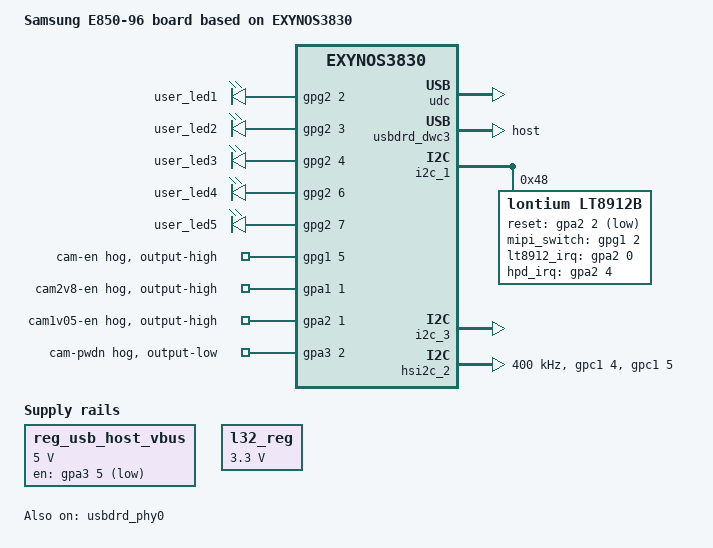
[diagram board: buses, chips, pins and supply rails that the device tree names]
#include "exynos3830-board_common.dtsi"
#include "exynos3830-e850-96-sound.dtsi"
#include "exynos3830-erd3830-camera.dtsi"
#include <dt-bindings/gpio/gpio.h>
#include <dt-bindings/interrupt-controller/irq.h>

/ {
	compatible = "samsung,exynos3830", "samsung,E850-96";
	board_id = <BOARD_ID>;
	board_rev = <BOARD_REV>;

	fragment@model {
		target-path = "/";
		__overlay__ {
			#address-cells = <2>;
			#size-cells = <1>;
			model = "Samsung E850-96 board based on EXYNOS3830";

			leds {
				compatible = "gpio-leds";

				/* HEART_BEAT_LED */
				user_led1 {
					label = "user_led1";
					gpios = <&gpg2 2 GPIO_ACTIVE_HIGH>;
					linux,default-trigger = "heartbeat";
				};

				/* eMMC_LED */
				user_led2 {
					label = "user_led2";
					gpios = <&gpg2 3 GPIO_ACTIVE_HIGH>;
					linux,default-trigger = "mmc0";
				};

				/* SD_LED */
				user_led3 {
					label = "user_led3";
					gpios = <&gpg2 4 GPIO_ACTIVE_HIGH>;
					linux,default-trigger = "mmc1";
				};

				/* WIFI_LED */
				user_led4 {
					label = "user_led4";
					gpios = <&gpg2 6 GPIO_ACTIVE_HIGH>;
					linux,default-trigger = "phy0tx";
					default-state = "off";
				};

				/* BLUETOOTH_LED */
				user_led5 {
					label = "user_led5";
					gpios = <&gpg2 7 GPIO_ACTIVE_HIGH>;
					linux,default-trigger = "hci0rx";
					default-state = "off";
				};
			};

			/*
			 * Always keep host USB power enabled, as k4.14 lacks
			 * the 'usb-conn-gpio' driver. See also dr_mode in
			 * usbdrd_dwc3 node for the actual USB mode.
			 */
			reg_usb_host_vbus: regulator-usb-host-vbus {
				compatible = "regulator-fixed";
				regulator-name = "usb_host_vbus";
				regulator-min-microvolt = <5000000>;
				regulator-max-microvolt = <5000000>;
				gpio = <&gpa3 5 GPIO_ACTIVE_LOW>;

				regulator-always-on;

				pinctrl-names = "default";
				pinctrl-0 = <&usb_pwr_ctl>;
			};
		};
	};
};

/* ---- USB nodes ----------------------------------------------------------- */

&pinctrl_0 {
	usb_pwr_ctl: usb-pwr-ctl {
		samsung,pins = "gpa3-5";
		samsung,pin-function = <0x1>;	/* output */
		samsung,pin-pud = <0>;
	};
};

&udc {
	status = "okay";
};

&usbdrd_dwc3 {
	dr_mode = "host";
	maximum-speed = "high-speed";
	snps,quirk-frame-length-adjustment = <0x20>;
	snps,u1u2_exitfail_quirk;
	/* ux_exit_in_px should be defined in MK, LT */
	snps,ux_exit_in_px_quirk;
	/* elastic_buf_mode_quirk should be defined in MK */
	snps,elastic_buf_mode_quirk;
	/* usb3-lpm-capable;
	snps,usb3_lpm_capable;
	adj-sof-accuracy = <1>; */
	/*
	 * dis-u2-freeclk-exists-quirk, dis_u2_susphy_quirk are alternative.
	 * One of them should be selected
	 */
	snps,dis-u2-freeclk-exists-quirk;
	/*snps,dis_u2_susphy_quirk;*/

	usb_audio_offloading = <0>;
//	abox = <&abox>; /* Temporary block */
};

&usbdrd_phy0 {
	status = "okay";
	usb3phy-isolation= <1>;
	pinctrl-names = "default";
//	pinctrl-0 = <&phy_port>;
//	phy,gpio_phy_port = <&gpg0 4 0x0>;
//	hs_tune_param = <&usb_hs_tune>;
//	ss_tune_param = <&usb_ss_tune>;
};

/* ---- HDMI nodes ---------------------------------------------------------- */

&pinctrl_0 {
	/* Reset line for LT8912; GPA2[2] = XEINT18 */
	lt8912b_rst: lt8912b_rst {
		samsung,pins = "gpa2-2";
		samsung,pin-function = <0x1>;
		samsung,pin-pud = <0>;
	};

	/* Interrupt from LT8912B chip; GPA2[0] = XEINT16 */
	lt8912b_int: lt8912b_int {
		samsung,pins = "gpa2-0";
		samsung,pin-function = <0xf>;
		samsung,pin-pud = <0>;
	};

	/* Interrupt from HPD line of HDMI socket; GPA2[4] = XEINT20 */
	hdmi_hpd_int: lt8912b_hpd_int {
		samsung,pins = "gpa2-4";
		samsung,pin-function = <0xf>;
		samsung,pin-pud = <0>;
	};
};

&pinctrl_5 {
	/* GPIO line to control DSI lines route (0 - HS connector, 1 - HDMI) */
	mipi_switch: mipi_switch {
		samsung,pins = "gpg1-2";
		samsung,pin-function = <0x1>;
		samsung,pin-pud = <0>;
	};
};

&i2c_1 {
	#address-cells = <1>;
	#size-cells = <0>;
	status = "okay";

	lt8912b: lt8912b {
		compatible = "lontium,lt8912b";
		reg = <0x48>;

		reset-gpios = <&gpa2 2 GPIO_ACTIVE_LOW>;
		mipi_switch-gpios = <&gpg1 2 GPIO_ACTIVE_HIGH>;
		lt8912_irq-gpios = <&gpa2 0 GPIO_ACTIVE_HIGH>;
		hpd_irq-gpios = <&gpa2 4 GPIO_ACTIVE_HIGH>;

		pinctrl-names = "default";
		pinctrl-0 = <&lt8912b_rst &lt8912b_int &hdmi_hpd_int
			     &mipi_switch>;
	};
};

/* HDMI DDC I2C (for getting the EDID, etc) */
&i2c_3 {
	#address-cells = <1>;
	#size-cells = <0>;
	status = "okay";
};

&panel_0 {
	/* reset, power */
	gpios = <&gpg2 5 GPIO_ACTIVE_LOW>, <&gpg1 1 GPIO_ACTIVE_LOW>;
	regulator_1p8v = "vdd_ldo28";
};

/*
 * NOTE: See also changes in:
 *       - exynos3830-dpu.dtsi
 *       - exynos3830-display-lcd.dtsi
 */

/* ---- Camera nodes -------------------------------------------------------- */

/* Camera module power: configure LDO32 line for 3.3V and enable it */
&l32_reg {
	regulator-name = "vdd_ldo32";
	regulator-min-microvolt = <3300000>;
	regulator-max-microvolt = <3300000>;
	regulator-always-on;
	regulator-ramp-delay = <12000>;
	regulator-initial-mode = <3>;
};

&pinctrl_5 {
	/* CAM_GPIO: control camera module power (enable/disable) */
	cam_en_pins: cam-en-pins {
		samsung,pins = "gpg1-5";
		samsung,pin-function = <0x1>;	/* output */
		samsung,pin-pud = <0>;
	};
};

/* TODO: Remove it once a proper camera driver is enabled */
&gpg1 {
	pinctrl-names = "default";
	pinctrl-0 = <&cam_en_pins>;

	/* Always keep CAM_GPIO line at "1" level */
	cam-en {
		gpio-hog;
		gpios = <5 GPIO_ACTIVE_HIGH>;
		output-high;
		line-name = "cam-en";
	};
};

/* Camera I2C; taken from exynos3830-erd3830-camera.dtsi */
&hsi2c_2 {
	#address-cells = <1>;
	#size-cells = <0>;
	gpios = <&gpc1 4 0 &gpc1 5 0>;
	status = "okay";
	clock-frequency = <400000>;
//	samsung,reset-before-trans;
//	samsung,fast-plus-mode;
};

/* ---- 3L6 camera nodes ---------------------------------------------------- */

&pinctrl_0 {
	/* GPIO-A: 2.8V enable */
	cam2v8_en_pins: cam2v8-en-pins {
		samsung,pins = "gpa1-1";
		samsung,pin-function = <0x1>;	/* output */
		samsung,pin-pud = <0>;
	};

	/* GPIO-B: 1.05V enable */
	cam1v05_en_pins: cam1v05-en-pins {
		samsung,pins = "gpa2-1";
		samsung,pin-function = <0x1>;	/* output */
		samsung,pin-pud = <0>;
	};

	/* GPIO-K: 3L6 PWDN/reset */
	cam_pwdn_pins: cam-pwdn-pins {
		samsung,pins = "gpa3-2";
		samsung,pin-function = <0x1>;	/* output */
		samsung,pin-pud = <0>;
	};

	/* GPIO-L: SYNC */
	cam_sync_pins: cam-sync-pins {
		samsung,pins = "gpa3-3";
		samsung,pin-function = <0x0>;	/* input */
		samsung,pin-pud = <0>;
	};
};

&gpa1 {
	pinctrl-names = "default";
	pinctrl-0 = <&cam2v8_en_pins>;

	cam2v8-en {
		gpio-hog;
		gpios = <1 GPIO_ACTIVE_HIGH>;
		output-high;
		line-name = "cam2v8-en";
	};
};

&gpa2 {
	pinctrl-names = "default";
	pinctrl-0 = <&cam1v05_en_pins>;

	cam1v05-en {
		gpio-hog;
		gpios = <1 GPIO_ACTIVE_HIGH>;
		output-high;
		line-name = "cam1v05-en";
	};
};

&gpa3 {
	pinctrl-names = "default";
	pinctrl-0 = <&cam_pwdn_pins &cam_sync_pins>;

	cam-pwdn {
		gpio-hog;
		gpios = <2 GPIO_ACTIVE_HIGH>;
		output-low;
		line-name = "cam-pwdn";
	};
};
